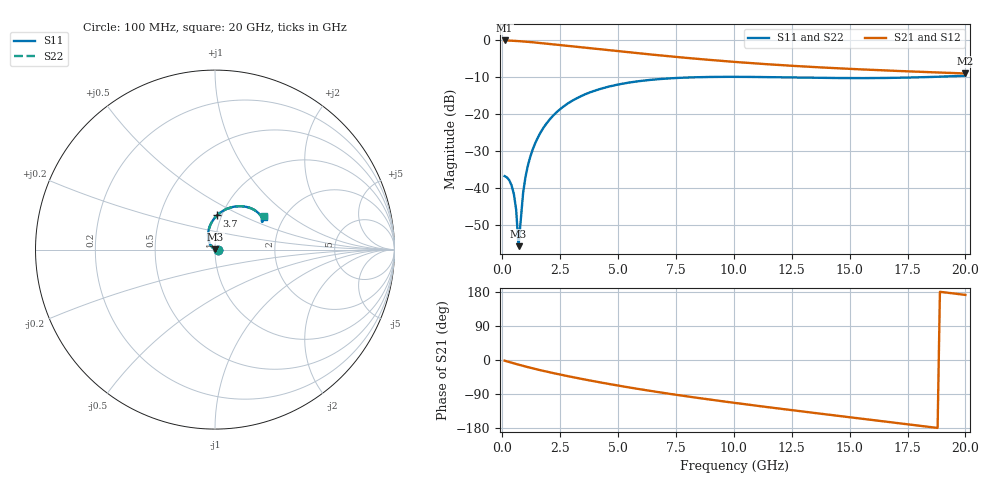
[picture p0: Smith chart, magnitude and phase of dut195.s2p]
! Touchstone file exported from HFSS 2023.1.0
!  File:  D:/Users/fzz/RDL_TSV/temp_RDL_TSV_195_1778755777.aedt
!  Generated:  6:59:58 %x4E0B%x5348  5%x6708 14, 2026
!  Design:  RDL_TSV
!  Project:  temp_RDL_TSV_195_1778755777
!  Setup:  Setup1
!  Solution:  Sweep
! Variables:
!  dtsv = 14.3um
!  hbump = 3um
!  htsv = 63.17um
!  ldown = 468.51um
!  lrdl = 311.17um
!  p = 40
!  p1 = 56.18um
!  rhole = 10um
!  subl = 2650.21um
!  t = 450um
!  tdown = 4.2um
!  trdl = 2.74um
!  viad = 10um
!  wdown = 24.36um
!  wrdl = 17.36um
!  xbump = 18um
# GHz S MA R 50.000000
! Terminal data exported
! Port[1] = TM1_1_T1
! Port[2] = TM1_4_T1
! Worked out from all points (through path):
!   200 points, 100 MHz to 20 GHz, reference 50 ohm
!   highest |S21| = -0.13 dB at 100 MHz (marker M1); lowest = -9.1 dB at 20 GHz (marker M2)
!   group delay of S21, straight-line fit = 24.4 ps
!   lowest |S11| = -55.8 dB at 700 MHz (marker M3), VSWR 1.00, Z = 50.1 + j0.0863 ohm
!   |S11| at or under -10 dB: start of sweep to 9.154 GHz; 10.69 GHz to 18.59 GHz (7.907 GHz wide, 54 % of centre)
!   |S22| runs from -55.9 to -9.7 dB; largest |S21 - S12| = 1.1e-14
!   S11 on the Smith chart (normalised r, x): 100 MHz: 1.03, -0.00; 3.7 GHz: 0.95, +0.38; 20 GHz: 1.58, +0.65
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0.1  0.01436 -0.6  0.9849 -1.8  0.9849 -1.8  0.01436 -0.6
! Gamma 0 0 0 0
! Port Impedance 50 0 50 0
0.3  0.01265 -3.6  0.9808 -5.4  0.9808 -5.4  0.01264 -3.6
0.4  0.01079 -5.4  0.9778 -7.1  0.9778 -7.1  0.01078 -5.4
0.5  0.00822 -6.5  0.9742 -8.9  0.9742 -8.9  0.008212 -6.5
0.6  0.005013 -3.8  0.9702 -10.6  0.9702 -10.6  0.005002 -3.8
0.7  0.001619 32.1  0.9657 -12.3  0.9657 -12.3  0.00161 32.6
0.9  0.008571 141.8  0.9554 -15.5  0.9554 -15.5  0.008595 141.9
1  0.01391 142.0  0.9498 -17.2  0.9498 -17.2  0.01394 142.0
1.2  0.02572 138.2  0.9378 -20.3  0.9378 -20.3  0.02576 138.2
1.4  0.03863 133.2  0.925 -23.3  0.925 -23.3  0.03868 133.2
1.8  0.06635 123.2  0.8985 -29.1  0.8985 -29.1  0.06642 123.2
2.2  0.09486 113.9  0.8719 -34.6  0.8719 -34.6  0.09495 113.9
2.8  0.1362 101.7  0.8332 -42.3  0.8332 -42.3  0.1363 101.7
3.5  0.1794 89.7  0.7903 -50.8  0.7903 -50.8  0.1796 89.7
3.7  0.1906 86.6  0.7784 -53.1  0.7784 -53.1  0.1907 86.6
5.1  0.2528 68.8  0.7006 -68.5  0.7006 -68.5  0.253 68.8
6.8  0.2958 53.4  0.6189 -85.3  0.6189 -85.3  0.296 53.4
8.4  0.3132 43.4  0.556 -99.6  0.556 -99.6  0.3134 43.4
10.1  0.317 36.4  0.503 -113.7  0.503 -113.7  0.3173 36.4
13.4  0.308 30.5  0.4311 -139.1  0.4311 -139.1  0.3083 30.5
16.7  0.3065 31.6  0.385 -163.7  0.385 -163.7  0.3069 31.6
20  0.3284 34.2  0.3522 171.8  0.3522 171.8  0.3288 34.2
